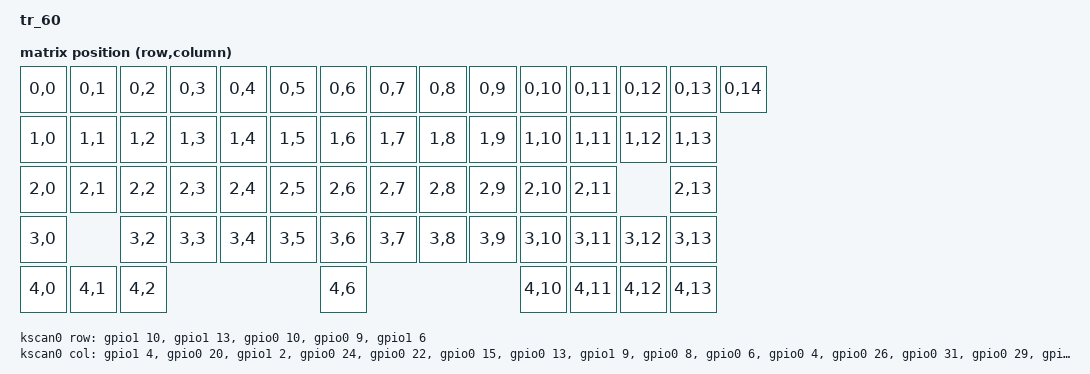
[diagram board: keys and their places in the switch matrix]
/*
 * Copyright (c) 2023 Srishtik Bhandarkar
 *
 * SPDX-License-Identifier: MIT
 */

/dts-v1/;
#include <nordic/nrf52840_qiaa.dtsi>
#include <dt-bindings/zmk/matrix_transform.h>

/ {
    model = "tr_60";
    compatible = "tr60";

    chosen {
        zephyr,code-partition = &code_partition;
        zephyr,sram = &sram0;
        zephyr,flash = &flash0;
        zephyr,console = &cdc_acm_uart;
        zmk,battery = &vbatt;
        zmk,kscan = &kscan0;
        zmk,matrix_transform = &default_transform;
    };

    default_transform: keymap_transform_0 {
        compatible = "zmk,matrix-transform";
        columns = <15>;
        rows = <5>;
        map = <
                RC(0,0) RC(0,1) RC(0,2) RC(0,3) RC(0,4) RC(0,5) RC(0,6) RC(0,7) RC(0,8) RC(0,9) RC(0,10) RC(0,11) RC(0,12)  RC(0,13) RC(0,14)
                RC(1,0) RC(1,1) RC(1,2) RC(1,3) RC(1,4) RC(1,5) RC(1,6) RC(1,7) RC(1,8) RC(1,9) RC(1,10) RC(1,11) RC(1,12)  RC(1,13)
                RC(2,0) RC(2,1) RC(2,2) RC(2,3) RC(2,4) RC(2,5) RC(2,6) RC(2,7) RC(2,8) RC(2,9) RC(2,10) RC(2,11)           RC(2,13)
                RC(3,0)         RC(3,2) RC(3,3) RC(3,4) RC(3,5) RC(3,6) RC(3,7) RC(3,8) RC(3,9) RC(3,10) RC(3,11) RC(3,12)  RC(3,13)
                RC(4,0) RC(4,1) RC(4,2)                         RC(4,6)                         RC(4,10) RC(4,11) RC(4,12)  RC(4,13)
        >;
    };

    kscan0: kscan {
        compatible = "zmk,kscan-gpio-matrix";
        label = "KSCAN";

        diode-direction = "col2row";
        row-gpios
            = <&gpio1 10 (GPIO_ACTIVE_HIGH | GPIO_PULL_DOWN)>  //row0
            , <&gpio1 13 (GPIO_ACTIVE_HIGH | GPIO_PULL_DOWN)>  //row1
            , <&gpio0 10 (GPIO_ACTIVE_HIGH | GPIO_PULL_DOWN)>  //row2
            , <&gpio0 9  (GPIO_ACTIVE_HIGH | GPIO_PULL_DOWN)>  //row3
            , <&gpio1 6  (GPIO_ACTIVE_HIGH | GPIO_PULL_DOWN)>  //row4
            ;
        col-gpios
            = <&gpio1 4  (GPIO_ACTIVE_HIGH)>  //col0
            , <&gpio0 20 (GPIO_ACTIVE_HIGH)>  //col1
            , <&gpio1 2  (GPIO_ACTIVE_HIGH)>  //col2
            , <&gpio0 24 (GPIO_ACTIVE_HIGH)>  //col3
            , <&gpio0 22 (GPIO_ACTIVE_HIGH)>  //col4
            , <&gpio0 15 (GPIO_ACTIVE_HIGH)>  //col5
            , <&gpio0 13 (GPIO_ACTIVE_HIGH)>  //col6
            , <&gpio1 9  (GPIO_ACTIVE_HIGH)>  //col7
            , <&gpio0 8  (GPIO_ACTIVE_HIGH)>  //col8
            , <&gpio0 6  (GPIO_ACTIVE_HIGH)>  //col9
            , <&gpio0 4  (GPIO_ACTIVE_HIGH)>  //col10
            , <&gpio0 26 (GPIO_ACTIVE_HIGH)>  //col11
            , <&gpio0 31 (GPIO_ACTIVE_HIGH)>  //col12
            , <&gpio0 29 (GPIO_ACTIVE_HIGH)>  //col13
            , <&gpio1 15 (GPIO_ACTIVE_HIGH)>  //col14
            ;
    };

    vbatt: vbatt {
        compatible = "zmk,battery-voltage-divider";
        label = "BATTERY";
        io-channels = <&adc 0>;
        output-ohms = <10000>;
        full-ohms = <(10000 + 10000)>;
    };
};

&adc {
    status = "okay";
};

&gpiote {
    status = "okay";
};

&gpio0 {
    status = "okay";
};

&gpio1 {
    status = "okay";
};

&usbd {
    status = "okay";
    cdc_acm_uart: cdc_acm_uart {
        compatible = "zephyr,cdc-acm-uart";
        label = "CDC_ACM_0";
    };
};


&flash0 {
    /*
     * For more information, see:
     * http://docs.zephyrproject.org/latest/devices/dts/flash_partitions.html
     */
    partitions {
        compatible = "fixed-partitions";
        #address-cells = <1>;
        #size-cells = <1>;

        sd_partition: partition@0 {
            label = "mbr";
            reg = <0x00000000 0x00001000>;
        };

        code_partition: partition@1000 {
            label = "code_partition";
            reg = <0x00001000 0x000d3000>;
        };

        /*
         * The flash starting at 0x000d4000 and ending at
         * 0x000f3fff is reserved for use by the application.
         */

        /*
         * Storage partition will be used by FCB/LittleFS/NVS
         * if enabled.
         */
        storage_partition: partition@d4000 {
            label = "storage";
            reg = <0x000d4000 0x00020000>;
        };

        boot_partition: partition@f4000 {
            label = "adafruit_boot";
            reg = <0x000f4000 0x0000c000>;
        };
    };
};
